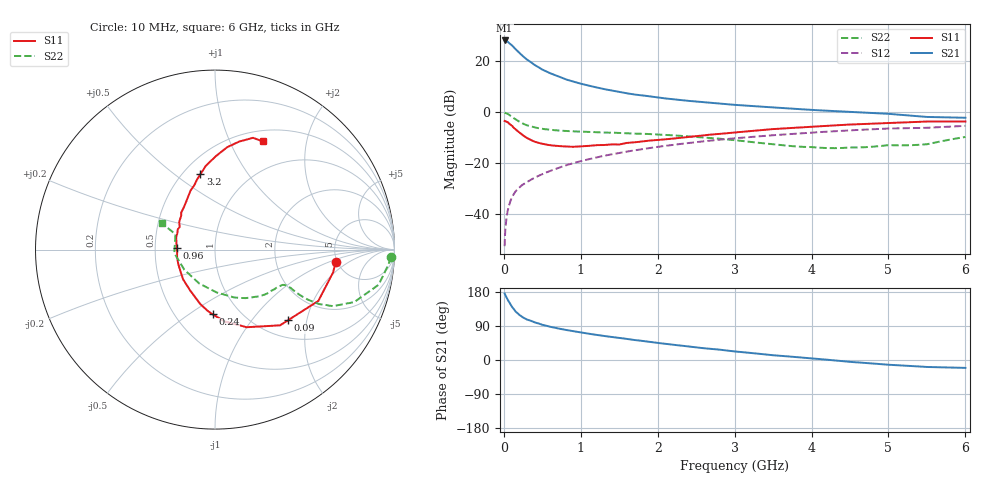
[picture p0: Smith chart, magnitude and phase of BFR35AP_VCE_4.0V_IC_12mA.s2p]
! Infineon Technologies  Discrete & RF Semiconductors
! BFR35AP
! VCE =  4.0 V,  IC =  12 mA
! Common Emitter S-Parameters:  Nov 2015
# GHz  S  MA  R  50
!  f  S11  S21  S12  S22
! GHz  MAG  ANG  MAG  ANG  MAG  ANG  MAG  ANG
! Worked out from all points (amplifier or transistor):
!   210 points, 10 MHz to 6 GHz, reference 50 ohm
!   highest |S21| = 28.1 dB at 10 MHz (marker M1)
!   |S21| within 3 dB of that: start of sweep to 139.6 MHz
!   unconditionally stable (mu >= 1): 530.4 MHz to 3.238 GHz
!   at 185 MHz: K = 0.60, MSG = 26.8 dB, |S12| = -29.9 dB
!   at 1.52 GHz: K = 1.11, MAG = 9.8 dB, |S12| = -15.8 dB
!   at 6 GHz: K = 0.94, MSG = 1.6 dB, |S12| = -5.3 dB
!   S11 on the Smith chart (normalised r, x): 10 MHz: 4.86, -1.20; 90 MHz: 1.34, -1.55; 240 MHz: 0.75, -0.62; 960 MHz: 0.65, +0.01; 3.2 GHz: 0.61, +0.62; 6 GHz: 0.63, +1.33
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0.01  0.6758 -5.7  25.35 175.4  0.0024 93.6  0.9822 -2.4
0.02  0.6703 -10.9  25.19 170.8  0.0052 81.3  0.9696 -5.0
0.05  0.6429 -26.4  23.97 158.8  0.0118 78.9  0.9327 -12.1
0.09  0.5657 -44.2  21.19 145.5  0.0191 71.7  0.8478 -18.8
0.1  0.5563 -49.3  20.7 141.7  0.021 70.7  0.8286 -20.7
0.15  0.4667 -67.9  17.34 128.2  0.028 65.5  0.7288 -25.6
0.2  0.4042 -82.2  14.59 119.2  0.0336 64.3  0.6544 -27.6
0.24  0.3609 -92.2  12.81 113.6  0.0378 63.1  0.6079 -28.1
0.3  0.3145 -105.1  10.74 106.8  0.0429 63.8  0.5559 -28.3
0.4  0.2655 -121.8  8.42 99.4  0.0524 64.2  0.5036 -27.7
0.5  0.2427 -137.3  6.827 92.9  0.0615 65.5  0.4723 -26.8
0.7  0.2194 -159.3  5.051 83.4  0.0804 66.6  0.4396 -26.8
0.8  0.215 -169.6  4.415 79.5  0.0908 66.5  0.4302 -27.2
0.96  0.213 178.1  3.759 74.2  0.1066 66.2  0.4198 -28.3
1.02  0.2158 173.6  3.554 72.2  0.1124 66.0  0.4171 -28.9
1.4  0.2363 151.2  2.658 60.8  0.1499 63.7  0.3994 -33.6
2.02  0.2881 128.1  1.922 44.6  0.2122 57.9  0.3653 -44.3
3.1  0.4143 102.8  1.362 20.8  0.318 45.5  0.2742 -71.8
3.2  0.4273 101.0  1.33 18.8  0.327 44.2  0.2633 -75.5
4.1  0.5319 88.0  1.09 2.5  0.4083 32.8  0.2024 -121.3
5.1  0.6249 76.0  0.906 -13.6  0.4829 18.9  0.2252 179.8
6  0.6587 66.3  0.78 -20.8  0.5414 8.6  0.3289 153.7
